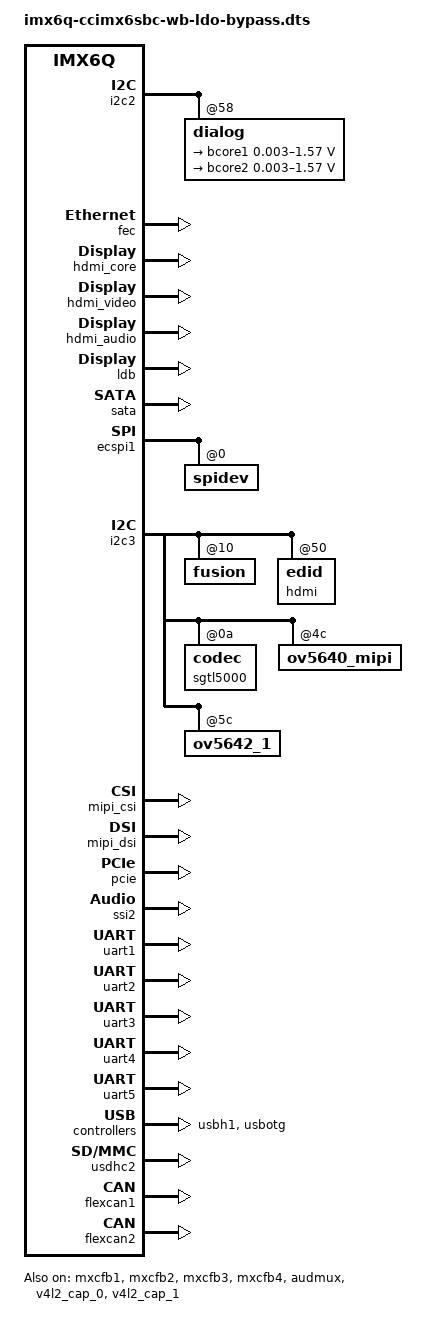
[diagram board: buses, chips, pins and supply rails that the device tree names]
/*
 * Copyright 2014 Digi International, Inc.
 *
 * The code contained herein is licensed under the GNU General Public
 * License. You may obtain a copy of the GNU General Public License
 * Version 2 or later at the following locations:
 *
 * http://www.opensource.org/licenses/gpl-license.html
 * http://www.gnu.org/copyleft/gpl.html
 */

/dts-v1/;
/* ConnectCore 6 (Quad/Dual wireless/bluetooth variant) */
#include "imx6q-ccimx6-wb.dtsi"
/* ConnectCore 6 Quad/Dual SBC carrier board */
#include "imx6q-ccimx6sbc.dtsi"

&cpu0 {
	operating-points = <
		/* kHz    uV */
		1200000 1350000
		996000  1300000
		852000  1250000
		792000  1200000
		396000  1100000
		>;
	fsl,soc-operating-points = <
		/* ARM kHz  SOC-PU uV */
		1200000       1250000
		996000        1250000
		852000        1250000
		792000        1250000
		396000        1250000
		>;
	arm-supply = <&bcore1>;
	soc-supply = <&bcore2>;
};

&gpc {
	fsl,ldo-bypass = <1>; /* use ldo-bypass, u-boot will check it and configure */
};

&i2c2 {
	dialog@58 {
		regulators {
			bcore1 {
				regulator-min-microvolt = <3000>;
				regulator-max-microvolt = <1570000>;
				regulator-suspend-mem-microvolt = <1175000>;
				regulator-suspend-standby-microvolt = <1175000>;
			};

			bcore2 {
				regulator-min-microvolt = <3000>;
				regulator-max-microvolt = <1570000>;
				regulator-suspend-mem-microvolt = <1175000>;
				regulator-suspend-standby-microvolt = <1175000>;
			};
		};
	};
};

&fec {
	status = "okay";
};

&hdmi_core {
	status = "okay";
};

&hdmi_video {
	status = "okay";
};

&hdmi_audio {
	status = "okay";
};

&ldb {
	status = "okay";

	lvds-channel@0 {
		status = "okay";
	};
};

&mxcfb1 {
	status = "okay";
};

&mxcfb2 {
	status = "okay";
};

&mxcfb3 {
	status = "okay";
};

&mxcfb4 {
	status = "okay";
};

&sata {
	status = "okay";
};

&audmux {
	status = "okay";
};

&ecspi1 {
	status = "okay";

	spidev@0 {
		status = "okay";
	};
};

&i2c3 {
	status = "okay";

	fusion@10 {
		status = "okay";
	};

	hdmi: edid@50 {
		status = "okay";
	};

	sgtl5000: codec@0a {
		status = "okay";
	};

	/* MIPI-CSI2 camera */
	ov5640_mipi: ov5640_mipi@4c {
		status = "okay";
	};

	/* Parallel camera CSI0 */
	ov5642_1: ov5642_1@5c {
		status = "okay";
	};
};

&mipi_csi {
	status = "okay";
};

&mipi_dsi {
	status = "okay";
};

&pcie {
	status = "okay";
};

&ssi2 {
	status = "okay";
};

&uart1 {
	status = "okay";
};

&uart2 {
	status = "okay";
};

&uart3 {
	status = "okay";
};

&uart4 {
	status = "okay";
};

&uart5 {
	status = "okay";
};

&usbh1 {
	status = "okay";
};

&usbotg {
	status = "okay";
};

&usdhc2 {
	status = "okay";
};

&flexcan1 {
	status = "okay";
};

&flexcan2 {
	status = "okay";
};

&v4l2_cap_0 {
	status = "okay";
};

&v4l2_cap_1 {
	status = "okay";
};

&v4l2_out {
	status = "okay";
};
